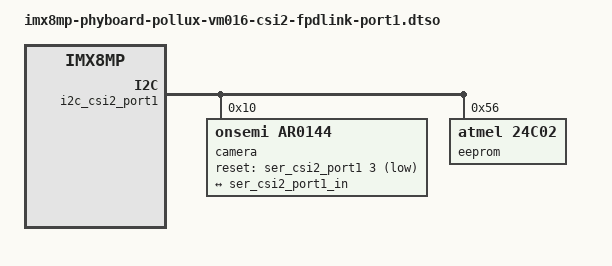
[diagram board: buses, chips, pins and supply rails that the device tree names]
// SPDX-License-Identifier: (GPL-2.0+ OR MIT)
/*
 * Copyright (C) 2022 PHYTEC Messtechnik GmbH
 * Author: Stefan Riedmueller <s.riedmueller@phytec.de>
 */

/dts-v1/;
/plugin/;

#include "imx8mp-phyboard-pollux-csi2-fpdlink-port1.dtsi"
#include <dt-bindings/gpio/gpio.h>

&i2c_csi2_port1 {
	camera@10 {
		#address-cells = <0x1>;
		#size-cells = <0x0>;

		compatible = "onsemi,ar0144";
		reg = <0x10>;
		clocks = <&ser_csi2_port1>;
		clock-names = "ext";
		isp-bus-info = "csi1";

		assigned-clocks = <&ser_csi2_port1>;
		assigned-clock-rates = <26666666>;

		reset-gpios = <&ser_csi2_port1 3 GPIO_ACTIVE_LOW>;
		reset-delay-ms = <100>;

		port@0 {
			reg = <0>;

			vm016_csi2_port1_ep: endpoint {
				remote-endpoint = <&ser_csi2_port1_in>;
				bus-type = <4>; /* MIPI CSI-2 D-PHY */
				link-frequencies = /bits/ 64 <222750000>;
				data-lanes = <1 2>;
				clock-lanes = <0>;
				clock-noncontinuous = <1>;
				onsemi,t-hs-prep = <1>;
				onsemi,t-clk-post = <9>;
			};
		};
	};

	eeprom@56 {
		compatible = "atmel,24c02";
		reg = <0x56>;
		pagesize = <16>;
	};
};

&ser_csi2_port1_in {
	remote-endpoint = <&vm016_csi2_port1_ep>;
	data-lanes = <1 2>;
};
